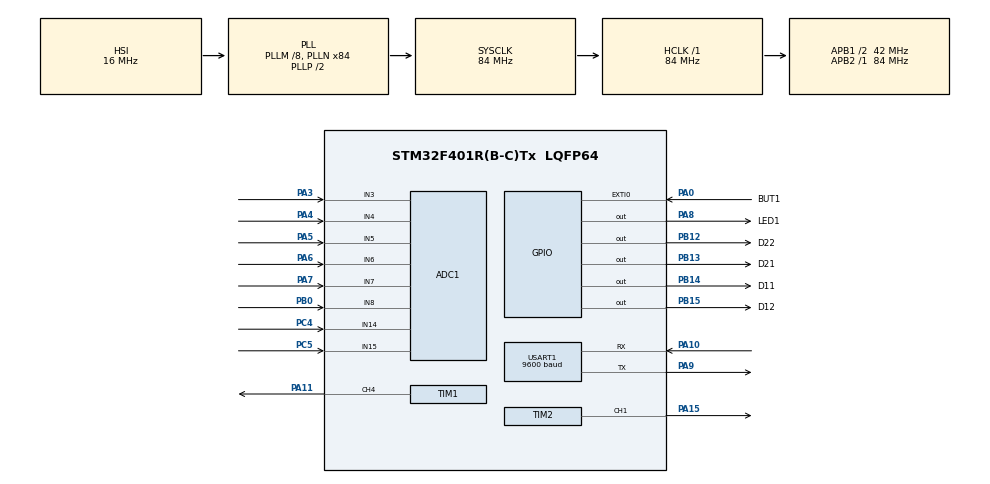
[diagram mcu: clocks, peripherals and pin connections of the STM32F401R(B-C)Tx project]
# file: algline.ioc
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ADC1.Channel-0\#ChannelRegularConversion=ADC_CHANNEL_3
ADC1.Channel-1\#ChannelRegularConversion=ADC_CHANNEL_4
ADC1.Channel-2\#ChannelRegularConversion=ADC_CHANNEL_5
ADC1.Channel-3\#ChannelRegularConversion=ADC_CHANNEL_6
ADC1.Channel-4\#ChannelRegularConversion=ADC_CHANNEL_7
ADC1.Channel-5\#ChannelRegularConversion=ADC_CHANNEL_8
ADC1.Channel-6\#ChannelRegularConversion=ADC_CHANNEL_14
ADC1.Channel-7\#ChannelRegularConversion=ADC_CHANNEL_15
ADC1.ContinuousConvMode=ENABLE
ADC1.DMAContinuousRequests=ENABLE
ADC1.NbrOfConversion=8
ADC1.NbrOfConversionFlag=1
ADC1.Rank-0\#ChannelRegularConversion=1
ADC1.Rank-1\#ChannelRegularConversion=2
ADC1.Rank-2\#ChannelRegularConversion=3
ADC1.Rank-3\#ChannelRegularConversion=4
ADC1.Rank-4\#ChannelRegularConversion=5
ADC1.Rank-5\#ChannelRegularConversion=6
ADC1.Rank-6\#ChannelRegularConversion=7
ADC1.Rank-7\#ChannelRegularConversion=8
ADC1.SamplingTime-0\#ChannelRegularConversion=ADC_SAMPLETIME_56CYCLES
ADC1.SamplingTime-1\#ChannelRegularConversion=ADC_SAMPLETIME_56CYCLES
ADC1.SamplingTime-2\#ChannelRegularConversion=ADC_SAMPLETIME_56CYCLES
ADC1.SamplingTime-3\#ChannelRegularConversion=ADC_SAMPLETIME_56CYCLES
ADC1.SamplingTime-4\#ChannelRegularConversion=ADC_SAMPLETIME_56CYCLES
ADC1.SamplingTime-5\#ChannelRegularConversion=ADC_SAMPLETIME_56CYCLES
ADC1.SamplingTime-6\#ChannelRegularConversion=ADC_SAMPLETIME_56CYCLES
ADC1.SamplingTime-7\#ChannelRegularConversion=ADC_SAMPLETIME_56CYCLES
ADC1.master=1
Dma.ADC1.0.Direction=DMA_PERIPH_TO_MEMORY
Dma.ADC1.0.FIFOMode=DMA_FIFOMODE_DISABLE
Dma.ADC1.0.Instance=DMA2_Stream0
Dma.ADC1.0.MemDataAlignment=DMA_MDATAALIGN_HALFWORD
Dma.ADC1.0.MemInc=DMA_MINC_ENABLE
Dma.ADC1.0.Mode=DMA_CIRCULAR
Dma.ADC1.0.PeriphDataAlignment=DMA_PDATAALIGN_HALFWORD
Dma.ADC1.0.PeriphInc=DMA_PINC_DISABLE
Dma.ADC1.0.Priority=DMA_PRIORITY_LOW
Dma.Request0=ADC1
Mcu.Family=STM32F4
Mcu.Name=STM32F401R(B-C)Tx
Mcu.Package=LQFP64
NVIC.DMA2_Stream0_IRQn=true\:0\:0\:false\:false\:true\:false\:true
NVIC.EXTI0_IRQn=true\:0\:0\:false\:false\:true\:true\:true
NVIC.PriorityGroup=NVIC_PRIORITYGROUP_4
NVIC.TIM1_UP_TIM10_IRQn=true\:0\:0\:false\:false\:true\:true\:true
NVIC.TIM2_IRQn=true\:0\:0\:false\:false\:true\:true\:true
NVIC.USART1_IRQn=true\:0\:0\:false\:false\:true\:true\:true
PA0-WKUP.GPIO_Label=BUT1
PA0-WKUP.GPIO_ModeDefaultEXTI=GPIO_MODE_IT_FALLING
PA0-WKUP.Signal=GPXTI0
PA10.Mode=Asynchronous
PA10.Signal=USART1_RX
PA11.Signal=S_TIM1_CH4
PA13.Mode=Serial_Wire
PA13.Signal=SYS_JTMS-SWDIO
PA14.Mode=Serial_Wire
PA14.Signal=SYS_JTCK-SWCLK
PA15.Signal=S_TIM2_CH1_ETR
PA3.Signal=ADCx_IN3
PA4.Signal=ADCx_IN4
PA5.Signal=ADCx_IN5
PA6.Signal=ADCx_IN6
PA7.Signal=ADCx_IN7
PA8.GPIO_Label=LED1
PA8.Signal=GPIO_Output
PA9.Mode=Asynchronous
PA9.Signal=USART1_TX
PB0.Signal=ADCx_IN8
PB12.GPIO_Label=D22
PB12.Signal=GPIO_Output
PB13.GPIO_Label=D21
PB13.Signal=GPIO_Output
PB14.GPIO_Label=D11
PB14.Signal=GPIO_Output
PB15.GPIO_Label=D12
PB15.Signal=GPIO_Output
PC4.Signal=ADCx_IN14
PC5.Signal=ADCx_IN15
ProjectManager.HeapSize=0x200
ProjectManager.StackSize=0x400
ProjectManager.TargetToolchain=STM32CubeIDE
RCC.48MHZClocksFreq_Value=42000000
RCC.AHBFreq_Value=84000000
RCC.APB1CLKDivider=RCC_HCLK_DIV2
RCC.APB1Freq_Value=42000000
RCC.APB1TimFreq_Value=84000000
RCC.APB2Freq_Value=84000000
RCC.APB2TimFreq_Value=84000000
RCC.CortexFreq_Value=84000000
RCC.HCLKFreq_Value=84000000
RCC.HSE_VALUE=25000000
RCC.HSI_VALUE=16000000
RCC.LSE_VALUE=32768
RCC.PLLM=8
RCC.PLLN=84
RCC.SYSCLKFreq_VALUE=84000000
RCC.SYSCLKSource=RCC_SYSCLKSOURCE_PLLCLK
RCC.VCOOutputFreq_Value=168000000
SH.ADCx_IN14.0=ADC1_IN14,IN14
SH.ADCx_IN15.0=ADC1_IN15,IN15
SH.ADCx_IN3.0=ADC1_IN3,IN3
SH.ADCx_IN4.0=ADC1_IN4,IN4
SH.ADCx_IN5.0=ADC1_IN5,IN5
SH.ADCx_IN6.0=ADC1_IN6,IN6
SH.ADCx_IN7.0=ADC1_IN7,IN7
SH.ADCx_IN8.0=ADC1_IN8,IN8
SH.S_TIM1_CH4.0=TIM1_CH4,PWM Generation4 CH4
SH.S_TIM2_CH1_ETR.0=TIM2_CH1,PWM Generation1 CH1
TIM1.AutoReloadPreload=TIM_AUTORELOAD_PRELOAD_ENABLE
TIM1.Channel-PWM\ Generation4\ CH4=TIM_CHANNEL_4
TIM1.Period=839
TIM10.Period=999
TIM10.Prescaler=839
TIM2.AutoReloadPreload=TIM_AUTORELOAD_PRELOAD_ENABLE
TIM2.Channel-PWM\ Generation1\ CH1=TIM_CHANNEL_1
TIM2.Period=839
USART1.BaudRate=9600
USART1.VirtualMode=VM_ASYNC
VP_TIM10_VS_ClockSourceINT.Mode=Enable_Timer
board=custom

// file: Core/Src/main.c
/* USER CODE BEGIN Header */
/**
  ******************************************************************************
  * @file           : main.c
  * @brief          : Main program body
  ******************************************************************************
  * @attention
  *
  * <h2><center>&copy; Copyright (c) 2021 STMicroelectronics.
  * All rights reserved.</center></h2>
  *
  * This software component is licensed by ST under BSD 3-Clause license,
  * the "License"; You may not use this file except in compliance with the
  * License. You may obtain a copy of the License at:
  *                        opensource.org/licenses/BSD-3-Clause
  *
  ******************************************************************************
  */
/* USER CODE END Header */
#include "main.h"
#include "adc.h"
#include "dma.h"
#include "tim.h"
#include "usart.h"
#include "gpio.h"

/* USER CODE BEGIN Includes */
#include <stdio.h>
/* USER CODE END Includes */

/* USER CODE BEGIN PV */
volatile uint8_t flag;
volatile uint8_t flag2;
uint16_t ADCValues[8];
uint16_t Sensors_Tab[8];
int Weight[8]={3,-3, 2,-2, 1, 0, -1, 0}, PositionBefore;
int Integral;
volatile uint8_t Received[3];

/* USER CODE END PV */

void SystemClock_Config(void);
/* USER CODE BEGIN PFP */
int _write(int file, char *ptr, int len){
	HAL_UART_Transmit(&huart1, (uint8_t*)ptr, len, 100);
	return len;
}

void HAL_TIM_PeriodElapsedCallback(TIM_HandleTypeDef *htim) {
	if (htim == &htim10) {
		flag=1;
	}
}

void setup_uart(){
	HAL_Delay(1000);
	printf("AT+BAUD4");
	HAL_Delay(100);
	printf("AT+NAMEep_bt");
	HAL_Delay(100);
	printf("AT+PIN3498");
	HAL_Delay(100);
}

int ReadInfoFromSensors(){
	uint8_t i=0, amount=0;
	int sum=0;

	for(i=0; i<8; i++){
		if(ADCValues[i] > 2500){
			Sensors_Tab[i]=1;
			amount++;
		}
		else
			Sensors_Tab[i]=0;
	}

	for(i=0; i<8; i++){
		sum=sum + Sensors_Tab[i]*Weight[i];
	}

	return sum*10/amount;
}

void PID_loop(float KP, float KI, float KD, float loopTime){
	int Target=0, Tp=840, change=0, PWM_Value=0;
	int ErrP=0, ErrD=0, Err=0,  current=0;

	current = ReadInfoFromSensors();
	Err=(Target + current);
	ErrP = Err*KP;
	ErrD = ((Err- PositionBefore)/loopTime)*KD;
	Integral = Integral + (Err*KI*loopTime);
	PositionBefore=current;
	change =ErrP/10 + ErrD/10+ Integral/10;

	if(Err > 0){
		PWM_Value = Tp - change;
		__HAL_TIM_SET_COMPARE(&htim2, TIM_CHANNEL_1, Tp-PWM_Value);
		__HAL_TIM_SET_COMPARE(&htim1, TIM_CHANNEL_4, Tp+PWM_Value);

	}
	else if (Err < 0){
		PWM_Value = Tp + change;
		 __HAL_TIM_SET_COMPARE(&htim1, TIM_CHANNEL_4, Tp-PWM_Value);
		 __HAL_TIM_SET_COMPARE(&htim2, TIM_CHANNEL_1, Tp+PWM_Value);
	}
	else if( Err == 0){
		 __HAL_TIM_SET_COMPARE(&htim1, TIM_CHANNEL_4, Tp);
		 __HAL_TIM_SET_COMPARE(&htim2, TIM_CHANNEL_1, Tp);
	}

}

void HAL_UART_RxCpltCallback(UART_HandleTypeDef *huart) {

	if(huart == &huart1){
		flag2 = 1;
	}
		HAL_UART_Receive_IT(&huart1, &Received, 1);

}
/* USER CODE END PFP */

int main(void)
{
  /* USER CODE BEGIN 1 */
	float KP=3.5, KD=8, KI=0.5;
  /* USER CODE END 1 */

  /* MCU Configuration--------------------------------------------------------*/

  /* Reset of all peripherals, Initializes the Flash interface and the Systick. */
  HAL_Init();

  /* Configure the system clock */
  SystemClock_Config();

  /* Initialize all configured peripherals */
  MX_GPIO_Init();
  MX_DMA_Init();
  MX_ADC1_Init();
  MX_TIM1_Init();
  MX_TIM2_Init();
  MX_TIM10_Init();
  MX_USART1_UART_Init();
  /* USER CODE BEGIN 2 */
  HAL_ADC_Start_DMA(&hadc1, ADCValues, 8);
  HAL_TIM_Base_Start_IT(&htim10);
  HAL_GPIO_TogglePin(LED1_GPIO_Port, LED1_Pin);
  setup_uart();
  HAL_GPIO_WritePin(D11_GPIO_Port, D11_Pin, GPIO_PIN_SET);
  HAL_GPIO_WritePin(D21_GPIO_Port, D21_Pin, GPIO_PIN_SET);
  HAL_GPIO_WritePin(D12_GPIO_Port, D12_Pin, GPIO_PIN_RESET);
  HAL_GPIO_WritePin(D22_GPIO_Port, D22_Pin, GPIO_PIN_RESET);
  __HAL_TIM_SET_COMPARE(&htim1, TIM_CHANNEL_4, 0);
  __HAL_TIM_SET_COMPARE(&htim2, TIM_CHANNEL_1, 0);
  HAL_TIM_PWM_Start(&htim1, TIM_CHANNEL_4);
  HAL_TIM_PWM_Start(&htim2, TIM_CHANNEL_1);
  HAL_UART_Receive_IT(&huart1, &Received, 1);

  /* USER CODE END 2 */

  /* Infinite loop */
  /* USER CODE BEGIN WHILE */
  while (1)
  {
	  if( flag == 1){
		  PID_loop(KP,KD,KI, 0.01);

		  flag=0;
	  }

	  if ( flag2 == 1){
		  HAL_GPIO_TogglePin(LED1_GPIO_Port, LED1_Pin);
		  if(Received[0] == 'P'){
			  KP=(Received[1]*100+Received[2]*10 +Received[3])/10;
			  printf("odebrane %d", KP);
		  }
		  else if(Received[0] == 'D'){
			  KD=(Received[1]*100+Received[2]*10 +Received[3])/10;
			  printf("odebrane %d", KD);
		  }
		  else if(Received[0] == 'I'){
			  KI=(Received[1]*100+Received[2]*10 +Received[3])/10;
			  printf("odebrane %d", KI);
		  }
		  else{
			  printf("Zle wyslane");
		  }
		  flag2=0;
	  }
    /* USER CODE END WHILE */

  }
}

void SystemClock_Config(void)
{
  RCC_OscInitTypeDef RCC_OscInitStruct = {0};
  RCC_ClkInitTypeDef RCC_ClkInitStruct = {0};

  /** Configure the main internal regulator output voltage
  */
  __HAL_RCC_PWR_CLK_ENABLE();
  __HAL_PWR_VOLTAGESCALING_CONFIG(PWR_REGULATOR_VOLTAGE_SCALE2);
  /** Initializes the RCC Oscillators according to the specified parameters
  * in the RCC_OscInitTypeDef structure.
  */
  RCC_OscInitStruct.OscillatorType = RCC_OSCILLATORTYPE_HSI;
  RCC_OscInitStruct.HSIState = RCC_HSI_ON;
  RCC_OscInitStruct.HSICalibrationValue = RCC_HSICALIBRATION_DEFAULT;
  RCC_OscInitStruct.PLL.PLLState = RCC_PLL_ON;
  RCC_OscInitStruct.PLL.PLLSource = RCC_PLLSOURCE_HSI;
  RCC_OscInitStruct.PLL.PLLM = 8;
  RCC_OscInitStruct.PLL.PLLN = 84;
  RCC_OscInitStruct.PLL.PLLP = RCC_PLLP_DIV2;
  RCC_OscInitStruct.PLL.PLLQ = 4;
  if (HAL_RCC_OscConfig(&RCC_OscInitStruct) != HAL_OK)
  {
    Error_Handler();
  }
  /** Initializes the CPU, AHB and APB buses clocks
  */
  RCC_ClkInitStruct.ClockType = RCC_CLOCKTYPE_HCLK|RCC_CLOCKTYPE_SYSCLK
                              |RCC_CLOCKTYPE_PCLK1|RCC_CLOCKTYPE_PCLK2;
  RCC_ClkInitStruct.SYSCLKSource = RCC_SYSCLKSOURCE_PLLCLK;
  RCC_ClkInitStruct.AHBCLKDivider = RCC_SYSCLK_DIV1;
  RCC_ClkInitStruct.APB1CLKDivider = RCC_HCLK_DIV2;
  RCC_ClkInitStruct.APB2CLKDivider = RCC_HCLK_DIV1;

  if (HAL_RCC_ClockConfig(&RCC_ClkInitStruct, FLASH_LATENCY_2) != HAL_OK)
  {
    Error_Handler();
  }
}

void Error_Handler(void)
{
}

/************************ (C) COPYRIGHT STMicroelectronics *****END OF FILE****/
